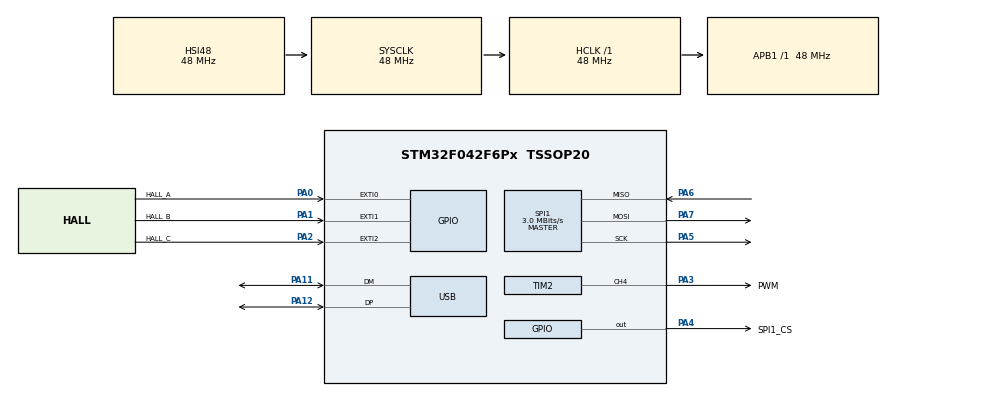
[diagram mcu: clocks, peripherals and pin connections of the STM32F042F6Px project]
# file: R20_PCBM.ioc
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Mcu.Family=STM32F0
Mcu.Name=STM32F042F6Px
Mcu.Package=TSSOP20
NVIC.EXTI0_1_IRQn=true\:0\:0\:false\:false\:true\:true\:true\:true
NVIC.EXTI2_3_IRQn=true\:0\:0\:false\:false\:true\:true\:true\:true
NVIC.TIM3_IRQn=true\:0\:0\:false\:false\:true\:true\:true\:true
PA0.GPIO_Label=HALL_A
PA0.GPIO_ModeDefaultEXTI=GPIO_MODE_IT_RISING_FALLING
PA0.Signal=GPXTI0
PA1.GPIO_Label=HALL_B
PA1.GPIO_ModeDefaultEXTI=GPIO_MODE_IT_RISING_FALLING
PA1.Signal=GPXTI1
PA11.Mode=Device
PA11.Signal=USB_DM
PA12.Mode=Device
PA12.Signal=USB_DP
PA13.Mode=Serial_Wire
PA13.Signal=SYS_SWDIO
PA14.Mode=Serial_Wire
PA14.Signal=SYS_SWCLK
PA2.GPIO_Label=HALL_C
PA2.GPIO_ModeDefaultEXTI=GPIO_MODE_IT_RISING_FALLING
PA2.Signal=GPXTI2
PA3.GPIO_Label=PWM
PA3.Signal=S_TIM2_CH4
PA4.GPIO_Label=SPI1_CS
PA4.Signal=GPIO_Output
PA5.Mode=Full_Duplex_Master
PA5.Signal=SPI1_SCK
PA6.Mode=Full_Duplex_Master
PA6.Signal=SPI1_MISO
PA7.Mode=Full_Duplex_Master
PA7.Signal=SPI1_MOSI
ProjectManager.HeapSize=0x200
ProjectManager.StackSize=0x400
ProjectManager.TargetToolchain=STM32CubeIDE
RCC.AHBFreq_Value=48000000
RCC.APB1Freq_Value=48000000
RCC.APB1TimFreq_Value=48000000
RCC.HCLKFreq_Value=48000000
RCC.SYSCLKFreq_VALUE=48000000
RCC.SYSCLKSource=RCC_SYSCLKSOURCE_HSI48
SH.S_TIM2_CH4.0=TIM2_CH4,PWM Generation4 CH4
SPI1.BaudRatePrescaler=SPI_BAUDRATEPRESCALER_16
SPI1.CLKPhase=SPI_PHASE_2EDGE
SPI1.CalculateBaudRate=3.0 MBits/s
SPI1.DataSize=SPI_DATASIZE_16BIT
SPI1.Direction=SPI_DIRECTION_2LINES
SPI1.Mode=SPI_MODE_MASTER
SPI1.VirtualType=VM_MASTER
TIM2.Channel-PWM\ Generation4\ CH4=TIM_CHANNEL_4
TIM2.Period=239
TIM3.Period=48000
VP_SYS_VS_PINREMAP.Mode=PINREMAP
VP_TIM3_VS_ClockSourceINT.Mode=Internal
board=custom

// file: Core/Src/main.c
/* USER CODE BEGIN Header */
/**
 ******************************************************************************
 * @file           : main.c
 * @brief          : Main program body
 ******************************************************************************
 * @attention
 *
 * Copyright (c) 2025 STMicroelectronics.
 * All rights reserved.
 *
 * This software is licensed under terms that can be found in the LICENSE file
 * in the root directory of this software component.
 * If no LICENSE file comes with this software, it is provided AS-IS.
 *
 ******************************************************************************
 */
/* USER CODE END Header */
#include "main.h"

/* USER CODE BEGIN Includes */
#include <math.h>
#include <stdlib.h>
#include "mct8316.h"
#include "pid.h"
#include "tusb.h"
#include "cli.h"
/* USER CODE END Includes */

/* USER CODE BEGIN PD */
#define VALID_HALL_STATES ((1 << 1) | (1 << 3) | (1 << 2) | (1 << 6) | (1 << 4) | (1 << 5))
#define ALPHA_HALL_SPEED	0.2f
/* USER CODE END PD */

SPI_HandleTypeDef hspi1;

TIM_HandleTypeDef htim2;
TIM_HandleTypeDef htim3;

/* USER CODE BEGIN PV */
MCT8316 mct8316;
volatile int32_t hall_count = 0;
volatile int32_t last_hall_count = 0;
volatile float hall_speed = 0;
volatile uint8_t last_hall_state = 0;
volatile uint32_t last_tick = 0;

PID posPID;
PID velPID;
ctrl_mode_t ctrl_mode = MODE_POSITION;
volatile int32_t vel_prev_count = 0;
volatile float vel_filtered = 0;
int32_t action_k;
int32_t action_km1;
uint16_t timer_counter = 0;
uint8_t flag_100hz = RESET;
uint8_t flag_10hz = RESET;
uint8_t flag_1hz = RESET;
uint8_t enable_flag = SET;
/* USER CODE END PV */

void SystemClock_Config(void);
static void MX_GPIO_Init(void);
static void MX_SPI1_Init(void);
static void MX_TIM2_Init(void);
static void USB_Init(void);
static void MX_TIM3_Init(void);
/* USER CODE BEGIN PFP */
void HAL_GPIO_EXTI_Callback(uint16_t GPIO_Pin);
static inline uint8_t is_valid_hall_state(uint8_t state);
/* USER CODE END PFP */

int main(void)
{

	/* MCU Configuration--------------------------------------------------------*/

	/* Reset of all peripherals, Initializes the Flash interface and the Systick. */
	HAL_Init();

	/* Configure the system clock */
	SystemClock_Config();

	/* Initialize all configured peripherals */
	MX_GPIO_Init();
	MX_SPI1_Init();
	MX_TIM2_Init();
	MX_TIM3_Init();
	/* USER CODE BEGIN 2 */

	/* Initialize MCT8316ZR */
	mct8316.hspi=&hspi1;
	MCT8316_Init(&mct8316);

	/* Initialize PWM generation */
	HAL_TIM_PWM_Start(&htim2, TIM_CHANNEL_4);

	/* Initialize PID timer */
	HAL_TIM_Base_Start_IT(&htim3);
	//	TIM2->CCR4 = 50;
	TIM2->CCR4 = 0;
	MCT8316_SetDirection(&mct8316,1);

	posPID.Umax = 50;
	posPID.Umin = -50;
	posPID.kd = 0.001;
	posPID.kp = 1;
	posPID.ki = 0;
	posPID.loop_freq = 1000; //[Hz]
	posPID.w_cutoff = 5; //[Hz]
	PID_Initialize(&posPID);

	velPID.Umax = 50;
	velPID.Umin = -50;
	velPID.kd = 0.001;
	velPID.kp = 0.1;
	velPID.ki = 2;
	velPID.loop_freq = 100; //[Hz]
	velPID.w_cutoff = 5; //[Hz]
	PID_Initialize(&velPID);

	posPID.x_k = 0;

	USB_Init();
	CLI_Init();

	/* USER CODE END 2 */

	/* Infinite loop */
	/* USER CODE BEGIN WHILE */
	while (1)
	{
		tud_task();
		CLI_Process();
		if(ctrl_mode == MODE_POSITION && posPID.update_flag && enable_flag){
			posPID.update_flag = RESET;
			posPID.h_k = hall_count * posPID.multiplier;
			PID_Update(&posPID);
			action_k = posPID.y_k / ((int32_t)posPID.multiplier);
			TIM2->CCR4 = abs(action_k)+18;
		}
		if(ctrl_mode == MODE_VELOCITY && velPID.update_flag && enable_flag){
			velPID.update_flag = RESET;
			int32_t delta = hall_count - vel_prev_count;
			vel_prev_count = hall_count;
			float vel_raw = (float)delta * 100.0f;
			vel_filtered = 0.3f * vel_raw + 0.7f * vel_filtered;
			velPID.h_k = (int32_t)(vel_filtered * (float)velPID.multiplier);
			PID_Update(&velPID);
			action_k = velPID.y_k / ((int32_t)velPID.multiplier);
			TIM2->CCR4 = abs(action_k)+18;
		}
		if(flag_100hz && enable_flag){
			flag_100hz = RESET;
			if(__SIGN(action_k) != __SIGN(action_km1)){
				if(__SIGN(action_k) == 1) MCT8316_SetDirection(&mct8316,1);
				else if(__SIGN(action_k) == -1) MCT8316_SetDirection(&mct8316,0);
			}
			action_km1 = action_k;
		}
		if(flag_10hz){
			flag_10hz = RESET;
			hall_speed = ALPHA_HALL_SPEED*(((float)(hall_count - last_hall_count)) * 10.f / HALL_COUNTS_PER_REV) +
					(1.f - ALPHA_HALL_SPEED) * hall_speed;
			last_hall_count = hall_count;
			MCT8316_UpdateStatus(&mct8316); // TODO check errors and clear if needed
		}
		if(flag_1hz){
			flag_1hz = RESET;
		}

		/* USER CODE END WHILE */

	}
}

void SystemClock_Config(void)
{
	RCC_OscInitTypeDef RCC_OscInitStruct = {0};
	RCC_ClkInitTypeDef RCC_ClkInitStruct = {0};
	RCC_PeriphCLKInitTypeDef PeriphClkInit = {0};

	/** Initializes the RCC Oscillators according to the specified parameters
	 * in the RCC_OscInitTypeDef structure.
	 */
	RCC_OscInitStruct.OscillatorType = RCC_OSCILLATORTYPE_HSI48;
	RCC_OscInitStruct.HSI48State = RCC_HSI48_ON;
	RCC_OscInitStruct.PLL.PLLState = RCC_PLL_NONE;
	if (HAL_RCC_OscConfig(&RCC_OscInitStruct) != HAL_OK)
	{
		Error_Handler();
	}

	/** Initializes the CPU, AHB and APB buses clocks
	 */
	RCC_ClkInitStruct.ClockType = RCC_CLOCKTYPE_HCLK|RCC_CLOCKTYPE_SYSCLK
			|RCC_CLOCKTYPE_PCLK1;
	RCC_ClkInitStruct.SYSCLKSource = RCC_SYSCLKSOURCE_HSI48;
	RCC_ClkInitStruct.AHBCLKDivider = RCC_SYSCLK_DIV1;
	RCC_ClkInitStruct.APB1CLKDivider = RCC_HCLK_DIV1;

	if (HAL_RCC_ClockConfig(&RCC_ClkInitStruct, FLASH_LATENCY_1) != HAL_OK)
	{
		Error_Handler();
	}
	PeriphClkInit.PeriphClockSelection = RCC_PERIPHCLK_USB;
	PeriphClkInit.UsbClockSelection = RCC_USBCLKSOURCE_HSI48;

	if (HAL_RCCEx_PeriphCLKConfig(&PeriphClkInit) != HAL_OK)
	{
		Error_Handler();
	}
}

static void MX_SPI1_Init(void)
{

	/* SPI1 parameter configuration*/
	hspi1.Instance = SPI1;
	hspi1.Init.Mode = SPI_MODE_MASTER;
	hspi1.Init.Direction = SPI_DIRECTION_2LINES;
	hspi1.Init.DataSize = SPI_DATASIZE_16BIT;
	hspi1.Init.CLKPolarity = SPI_POLARITY_LOW;
	hspi1.Init.CLKPhase = SPI_PHASE_2EDGE;
	hspi1.Init.NSS = SPI_NSS_SOFT;
	hspi1.Init.BaudRatePrescaler = SPI_BAUDRATEPRESCALER_16;
	hspi1.Init.FirstBit = SPI_FIRSTBIT_MSB;
	hspi1.Init.TIMode = SPI_TIMODE_DISABLE;
	hspi1.Init.CRCCalculation = SPI_CRCCALCULATION_DISABLE;
	hspi1.Init.CRCPolynomial = 7;
	hspi1.Init.CRCLength = SPI_CRC_LENGTH_DATASIZE;
	hspi1.Init.NSSPMode = SPI_NSS_PULSE_DISABLE;
	if (HAL_SPI_Init(&hspi1) != HAL_OK)
	{
		Error_Handler();
	}

}

static void MX_TIM2_Init(void)
{

	TIM_MasterConfigTypeDef sMasterConfig = {0};
	TIM_OC_InitTypeDef sConfigOC = {0};

	htim2.Instance = TIM2;
	htim2.Init.Prescaler = 0;
	htim2.Init.CounterMode = TIM_COUNTERMODE_UP;
	htim2.Init.Period = 239;
	htim2.Init.ClockDivision = TIM_CLOCKDIVISION_DIV1;
	htim2.Init.AutoReloadPreload = TIM_AUTORELOAD_PRELOAD_DISABLE;
	if (HAL_TIM_PWM_Init(&htim2) != HAL_OK)
	{
		Error_Handler();
	}
	sMasterConfig.MasterOutputTrigger = TIM_TRGO_RESET;
	sMasterConfig.MasterSlaveMode = TIM_MASTERSLAVEMODE_DISABLE;
	if (HAL_TIMEx_MasterConfigSynchronization(&htim2, &sMasterConfig) != HAL_OK)
	{
		Error_Handler();
	}
	sConfigOC.OCMode = TIM_OCMODE_PWM1;
	sConfigOC.Pulse = 0;
	sConfigOC.OCPolarity = TIM_OCPOLARITY_HIGH;
	sConfigOC.OCFastMode = TIM_OCFAST_DISABLE;
	if (HAL_TIM_PWM_ConfigChannel(&htim2, &sConfigOC, TIM_CHANNEL_4) != HAL_OK)
	{
		Error_Handler();
	}
	HAL_TIM_MspPostInit(&htim2);

}

static void MX_TIM3_Init(void)
{

	TIM_ClockConfigTypeDef sClockSourceConfig = {0};
	TIM_MasterConfigTypeDef sMasterConfig = {0};

	htim3.Instance = TIM3;
	htim3.Init.Prescaler = 0;
	htim3.Init.CounterMode = TIM_COUNTERMODE_UP;
	htim3.Init.Period = 48000;
	htim3.Init.ClockDivision = TIM_CLOCKDIVISION_DIV1;
	htim3.Init.AutoReloadPreload = TIM_AUTORELOAD_PRELOAD_DISABLE;
	if (HAL_TIM_Base_Init(&htim3) != HAL_OK)
	{
		Error_Handler();
	}
	sClockSourceConfig.ClockSource = TIM_CLOCKSOURCE_INTERNAL;
	if (HAL_TIM_ConfigClockSource(&htim3, &sClockSourceConfig) != HAL_OK)
	{
		Error_Handler();
	}
	sMasterConfig.MasterOutputTrigger = TIM_TRGO_RESET;
	sMasterConfig.MasterSlaveMode = TIM_MASTERSLAVEMODE_DISABLE;
	if (HAL_TIMEx_MasterConfigSynchronization(&htim3, &sMasterConfig) != HAL_OK)
	{
		Error_Handler();
	}

}

static void USB_Init(void)
{
	__HAL_RCC_USB_CLK_ENABLE();
	HAL_NVIC_SetPriority(USB_IRQn, 2, 0);
	HAL_NVIC_EnableIRQ(USB_IRQn);

	const tusb_rhport_init_t rh_init = {
		.role = TUSB_ROLE_DEVICE,
		.speed = TUSB_SPEED_FULL
	};
	tud_rhport_init(BOARD_TUD_RHPORT, &rh_init);
}

static void MX_GPIO_Init(void)
{
	GPIO_InitTypeDef GPIO_InitStruct = {0};

	/* GPIO Ports Clock Enable */
	__HAL_RCC_GPIOA_CLK_ENABLE();

	/*Configure GPIO pin Output Level */
	HAL_GPIO_WritePin(SPI1_CS_GPIO_Port, SPI1_CS_Pin, GPIO_PIN_RESET);

	/*Configure GPIO pins : HALL_A_Pin HALL_B_Pin HALL_C_Pin */
	GPIO_InitStruct.Pin = HALL_A_Pin|HALL_B_Pin|HALL_C_Pin;
	GPIO_InitStruct.Mode = GPIO_MODE_IT_RISING_FALLING;
	GPIO_InitStruct.Pull = GPIO_NOPULL;
	HAL_GPIO_Init(GPIOA, &GPIO_InitStruct);

	/*Configure GPIO pin : SPI1_CS_Pin */
	GPIO_InitStruct.Pin = SPI1_CS_Pin;
	GPIO_InitStruct.Mode = GPIO_MODE_OUTPUT_PP;
	GPIO_InitStruct.Pull = GPIO_NOPULL;
	GPIO_InitStruct.Speed = GPIO_SPEED_FREQ_LOW;
	HAL_GPIO_Init(SPI1_CS_GPIO_Port, &GPIO_InitStruct);

	/* EXTI interrupt init*/
	HAL_NVIC_SetPriority(EXTI0_1_IRQn, 0, 0);
	HAL_NVIC_EnableIRQ(EXTI0_1_IRQn);

	HAL_NVIC_SetPriority(EXTI2_3_IRQn, 0, 0);
	HAL_NVIC_EnableIRQ(EXTI2_3_IRQn);

}

/* USER CODE BEGIN 4 */

// Function to check if a Hall state is valid using bitmasking
static inline uint8_t is_valid_hall_state(uint8_t state)
{
	return (VALID_HALL_STATES & (1 << state)) != 0;
}

void HAL_GPIO_EXTI_Callback(uint16_t GPIO_Pin)
{
	uint32_t gpio_read = HALL_A_GPIO_Port->IDR;
	uint8_t hall_state;

	// Read the current Hall state
	hall_state = (__HALL_READ(gpio_read, HALL_A_Pin) << 2) |
			(__HALL_READ(gpio_read, HALL_B_Pin) << 1) |
			(__HALL_READ(gpio_read, HALL_C_Pin) << 0);

	// Ignore noise: process only if it's a valid Hall state
	if (!is_valid_hall_state(hall_state))
	{
		return;  // Skip invalid states (caused by noise)
	}

	// Determine direction based on the Hall sequence
	if (((last_hall_state == 0b001) && (hall_state == 0b011)) ||
			((last_hall_state == 0b011) && (hall_state == 0b010)) ||
			((last_hall_state == 0b010) && (hall_state == 0b110)) ||
			((last_hall_state == 0b110) && (hall_state == 0b100)) ||
			((last_hall_state == 0b100) && (hall_state == 0b101)) ||
			((last_hall_state == 0b101) && (hall_state == 0b001)))
	{
		hall_count++;
	}
	else if (((last_hall_state == 0b001) && (hall_state == 0b101)) ||
			((last_hall_state == 0b101) && (hall_state == 0b100)) ||
			((last_hall_state == 0b100) && (hall_state == 0b110)) ||
			((last_hall_state == 0b110) && (hall_state == 0b010)) ||
			((last_hall_state == 0b010) && (hall_state == 0b011)) ||
			((last_hall_state == 0b011) && (hall_state == 0b001)))
	{
		hall_count--;
	}

	// Update last state
	last_hall_state = hall_state;

}

/**
  * @brief This function handles TIM3 global interrupt.
  */
void TIM3_IRQHandler(void)
{
  HAL_TIM_IRQHandler(&htim3);
  posPID.update_flag = SET;
  CLI_Tick();
  if(++timer_counter >= 1000) {
	  timer_counter = 0;
	  flag_1hz = SET;
  }
  if((timer_counter%10) == 0) { // 100Hz
	  flag_100hz = SET;
	  velPID.update_flag = SET;
	  if((timer_counter%100) == 0) flag_10hz = SET; // 10Hz
  }
}

/* USER CODE END 4 */

void Error_Handler(void)
{
	__disable_irq();
	while (1)
	{
	}
}
